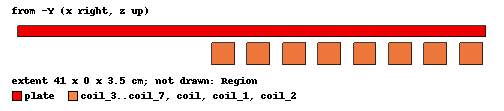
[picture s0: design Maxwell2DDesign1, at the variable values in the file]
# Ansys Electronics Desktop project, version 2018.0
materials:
  vacuum: permittivity=1
  copper: permeability=0.999991 conductivity=58000000
  cast_iron: permeability=60 conductivity=1500000

design Maxwell2DDesign1 (Maxwell 2D, EddyCurrent, about Z geometry, model units cm)
options: Multiplier=1
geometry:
  coil [copper] = rectangle(corner=(17cm, 0cm, -1cm), z_size=2cm, x_size=2cm)
  coil_1..coil_7 [copper] = coil.duplicate_along_line(step=(3.1cm, 0cm, 0cm), total=8)
  plate [cast_iron] = rectangle(corner=(0cm, 0cm, 1.5cm), z_size=1cm, x_size=41cm)
  Region [vacuum] = rectangle(corner=(0cm, 0cm, -100cm), z_size=200cm, x_size=120cm)
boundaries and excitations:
  Balloon1: Balloon Edges=Region.edge(z at corner, x opposite corner, z opposite corner)
  Current_1: Current Objects=coil Phase=0deg Current=120A IsSolid=true IsPositive=true
  Current_2: Current Objects=coil_1 Phase=0deg Current=120A IsSolid=true IsPositive=true
  Current_3: Current Objects=coil_2 Phase=0deg Current=120A IsSolid=true IsPositive=true
  Current_4: Current Objects=coil_3 Phase=0deg Current=120A IsSolid=true IsPositive=true
  Current_5: Current Objects=coil_4 Phase=0deg Current=120A IsSolid=true IsPositive=true
  Current_6: Current Objects=coil_5 Phase=0deg Current=120A IsSolid=true IsPositive=true
  Current_7: Current Objects=coil_6 Phase=0deg Current=120A IsSolid=true IsPositive=true
  Current_8: Current Objects=coil_7 Phase=0deg Current=120A IsSolid=true IsPositive=true
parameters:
  Matrix1: Matrix Current_1..Current_8: NumberOfTurns=1
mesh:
  initial mesh: MeshMethod=AnsoftTAU
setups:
  Setup1: EddyCurrent MaximumPasses=15 MinimumPasses=2 MinimumConvergedPasses=1 PercentRefinement=30 PercentError=1 NonLinearResidual=0.0001 Frequency=500Hz
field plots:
  J_Vector1: J over plate on Setup1 : LastAdaptive at Freq=500Hz Phase=0deg
